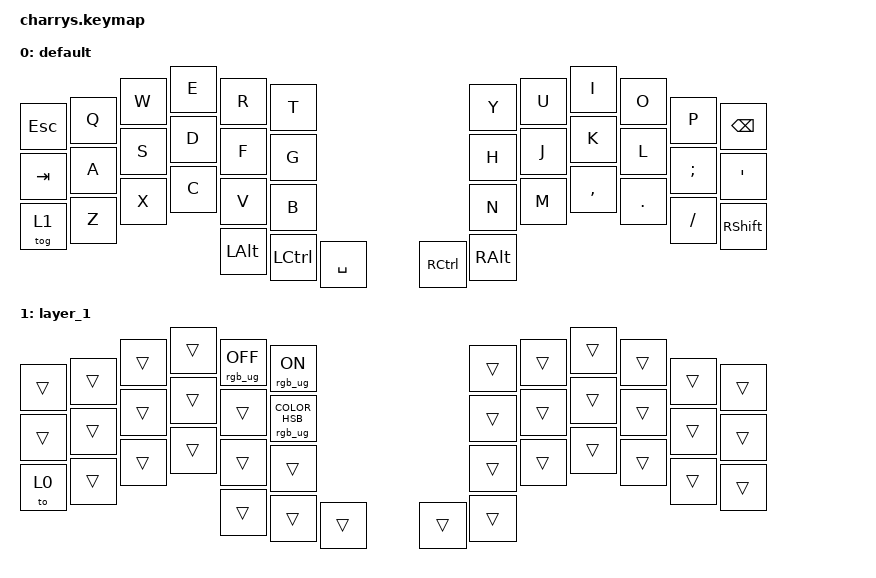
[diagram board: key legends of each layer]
#include <behaviors.dtsi>
#include <dt-bindings/zmk/keys.h>
#include <dt-bindings/zmk/rgb.h>

/ {
    keymap {
        compatible = "zmk,keymap";

        default_layer {
            display-name = "default";

            // ------------------------------------------------------------------------------------------------------------
            // |  ESC  |  Q  |  W  |  E   |  R   |  T   |                   |  Y   |  U    |  I    |  O   |   P   | BKSPC |
            // |  TAB  |  A  |  S  |  D   |  F   |  G   |                   |  H   |  J    |  K    |  L   |   ;   |   '   |
            // | SHIFT |  Z  |  X  |  C   |  V   |  B   |                   |  N   |  M    |  ,    |  .   |   /   | SHIFT |
            //                      | ALT | CTRL |SPACE |                   | CTRL  | ALT  |
            // ------------------------------------------------------------------------------------------------------------

            bindings = <
&kp ESC  &kp Q  &kp W  &kp E     &kp R      &kp T        &kp Y      &kp U     &kp I      &kp O    &kp P     &kp BSPC
&kp TAB  &kp A  &kp S  &kp D     &kp F      &kp G        &kp H      &kp J     &kp K      &kp L    &kp SEMI  &kp SQT
&tog 1   &kp Z  &kp X  &kp C     &kp V      &kp B        &kp N      &kp M     &kp COMMA  &kp DOT  &kp FSLH  &kp RSHFT
                       &kp LALT  &kp LCTRL  &kp SPACE    &kp RCTRL  &kp RALT
            >;
        };

        layer_1 {
            bindings = <
&trans  &trans  &trans  &trans  &rgb_ug RGB_OFF  &rgb_ug RGB_ON                       &trans  &trans  &trans  &trans  &trans  &trans
&trans  &trans  &trans  &trans  &trans           &rgb_ug RGB_COLOR_HSB(218,100,60)    &trans  &trans  &trans  &trans  &trans  &trans
&to 0   &trans  &trans  &trans  &trans           &trans                               &trans  &trans  &trans  &trans  &trans  &trans
                        &trans  &trans           &trans                               &trans  &trans
            >;
        };
    };
};
